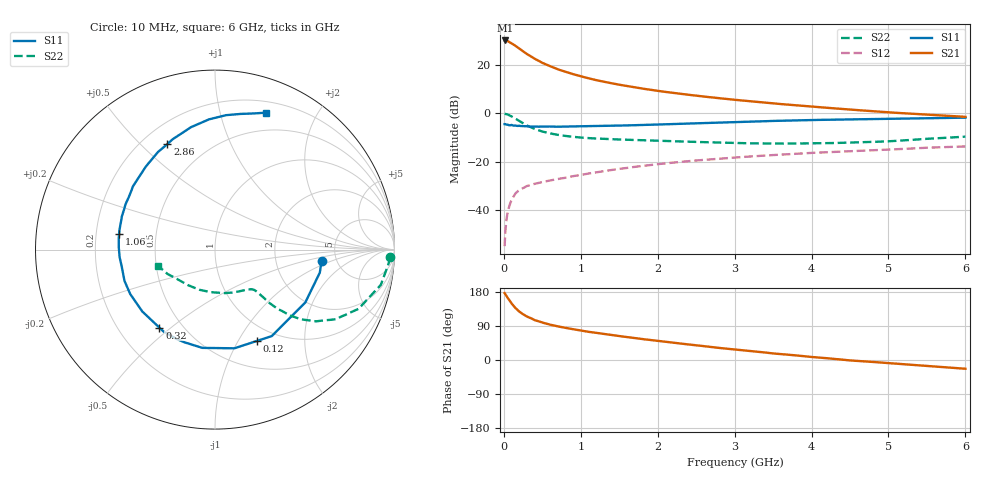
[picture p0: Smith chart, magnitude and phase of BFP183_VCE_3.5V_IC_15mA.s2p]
! Infineon Technologies  Discrete & RF Semiconductors
! BFP183
! VCE = 3.5 V,  IC =  15 mA
! Common Emitter S-Parameters:  Jan 2016
# GHz  S  MA  R  50
!  f  S11  S21  S12  S22
! GHz  MAG  ANG  MAG  ANG  MAG  ANG  MAG  ANG
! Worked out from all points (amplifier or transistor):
!   210 points, 10 MHz to 6 GHz, reference 50 ohm
!   highest |S21| = 30.1 dB at 20 MHz (marker M1)
!   |S21| within 3 dB of that: start of sweep to 185 MHz
!   unconditionally stable (mu >= 1): 959.4 MHz to 5.6 GHz
!   at 185 MHz: K = 0.32, MSG = 29.6 dB, |S12| = -32.1 dB
!   at 1.52 GHz: K = 1.12, MAG = 15.2 dB, |S12| = -22.9 dB
!   at 6 GHz: K = 0.94, MSG = 6.1 dB, |S12| = -13.7 dB
!   S11 on the Smith chart (normalised r, x): 10 MHz: 3.82, -0.73; 120 MHz: 0.81, -1.20; 320 MHz: 0.38, -0.46; 1.06 GHz: 0.30, +0.08; 2.86 GHz: 0.30, +0.61; 6 GHz: 0.31, +1.39
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0.01  0.5976 -5.9  31.91 176.6  0.0018 83.8  0.9774 -2.4
0.02  0.5979 -12.4  31.93 173.6  0.0037 84.4  0.9696 -4.8
0.05  0.583 -30.4  31.05 163.6  0.0091 79.5  0.9445 -12.0
0.1  0.5764 -56.7  28.04 149.2  0.0163 67.3  0.8655 -22.4
0.12  0.5598 -65.4  26.61 144.8  0.0186 63.1  0.828 -25.2
0.15  0.5604 -78.9  24.81 137.2  0.0221 58.5  0.776 -30.0
0.2  0.5521 -97.4  21.75 127.8  0.0258 54.4  0.6901 -35.4
0.26  0.542 -113.2  18.5 119.4  0.0292 50.1  0.6065 -39.4
0.32  0.5338 -125.5  16.07 113.1  0.0321 47.6  0.5427 -41.5
0.4  0.5319 -139.6  13.41 105.3  0.0349 46.0  0.4752 -43.5
0.5  0.5333 -152.3  11.01 98.6  0.038 45.5  0.4198 -44.5
0.6  0.5335 -161.0  9.411 93.3  0.0409 46.7  0.384 -44.6
0.8  0.5331 -175.4  7.188 84.6  0.0466 47.6  0.34 -44.9
1.02  0.5403 172.4  5.69 77.1  0.0539 48.7  0.3136 -45.8
1.06  0.5416 170.5  5.489 75.8  0.0554 48.9  0.3103 -46.1
1.5  0.559 153.2  3.893 63.1  0.071 49.4  0.2874 -50.5
2.02  0.5869 135.7  2.871 50.1  0.0896 47.3  0.2706 -58.9
2.86  0.6456 114.2  2.003 30.6  0.1176 41.7  0.2474 -78.1
3.1  0.6641 108.9  1.836 25.8  0.1251 39.8  0.2416 -84.5
4.1  0.7303 91.2  1.337 6.4  0.1543 31.6  0.2404 -114.8
5.1  0.7727 78.2  1.023 -9.7  0.1805 24.5  0.2693 -143.2
6  0.8133 69.7  0.844 -23.1  0.2068 16.4  0.3293 -163.9
